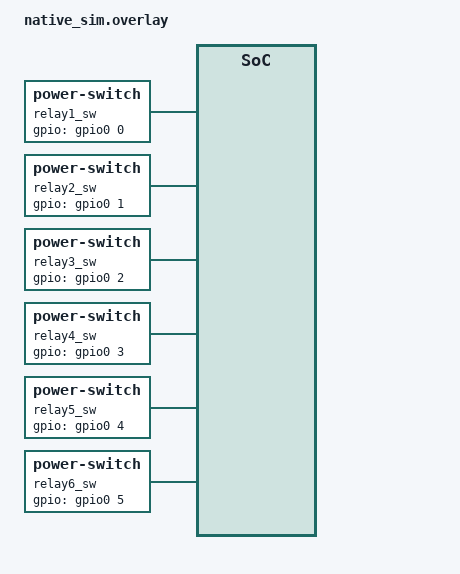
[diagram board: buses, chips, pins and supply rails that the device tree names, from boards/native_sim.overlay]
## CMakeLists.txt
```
cmake_minimum_required(VERSION 3.20.0)

list(APPEND BOARD_ROOT ${CMAKE_CURRENT_SOURCE_DIR})

macro(app_set_runner_args)
  board_runner_args(canopen "--node-id=${CONFIG_CANOPEN_NODE_ID}")
endmacro()

find_package(Zephyr REQUIRED HINTS $ENV{ZEPHYR_BASE})
project(gartennode_zysterne)
FILE(GLOB app_sources src/*.c)
target_sources(app PRIVATE ${app_sources} objdict/CO_OD.c)
zephyr_include_directories(objdict src)
```

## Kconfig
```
#
# Copyright (c) 2019 Vestas Wind Systems A/S
#
# SPDX-License-Identifier: Apache-2.0
#

config CANOPEN_NODE_ID
	int "CANopen node ID"
	default 10
	range 1 127
	help
	  7-bit CANopen Node ID

config RELAY_UPDATE_DIAGNOSTICS
	bool "Record CANopen update timing and reset causes"
	depends on CANOPENNODE_PROGRAM_DOWNLOAD && SOC_FAMILY_STM32
	select HWINFO
	select LOG_RUNTIME_FILTERING
	help
	  Record download progress and callback latency without changing the
	  flash operation. Suppress GPIO-expander log noise to preserve diagnostic
	  buffer space. Intended for hardware update regression tests.

# Match Gartennode's scratch layout, not Zephyr's newer offset-swap default.
# Defaults leave native_sim, which does not use MCUboot, unaffected.
choice MCUBOOT_BOOTLOADER_MODE
	default MCUBOOT_BOOTLOADER_MODE_SWAP_SCRATCH if BOARD_GARTENNODE && BOOTLOADER_MCUBOOT
endchoice

config MCUBOOT_IMGTOOL_SIGN_VERSION
	default "0.1.0" if BOARD_GARTENNODE && BOOTLOADER_MCUBOOT

config MCUBOOT_EXTRA_IMGTOOL_ARGS
	default "--pad" if BOARD_GARTENNODE && BOOTLOADER_MCUBOOT

source "Kconfig.zephyr"
```

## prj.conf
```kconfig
# Print a banner on the UART on startup.
CONFIG_BOOT_BANNER=y

CONFIG_LOG=y
CONFIG_LOG_BACKEND_UART=y
CONFIG_MULTITHREADING=y
#CONFIG_WATCHDOG=y
#CONFIG_TASK_WDT=y
#CONFIG_TASK_WDT_MIN_TIMEOUT=500
CONFIG_CANOPENNODE_LOG_LEVEL_DBG=y

CONFIG_GPIO=y
CONFIG_I2C=y
CONFIG_GPIO_PCF857X=y
CONFIG_SENSOR=y

CONFIG_CAN=y

CONFIG_MAIN_STACK_SIZE=2048

CONFIG_CANOPENNODE=y
CONFIG_CANOPENNODE_SYNC_THREAD=y
CONFIG_CANOPENNODE_STORAGE=y
CONFIG_CANOPENNODE_LEDS=y
CONFIG_CANOPENNODE_PROGRAM_DOWNLOAD=y
CONFIG_CANOPEN_NODE_ID=11

CONFIG_LOG_PRINTK=y
CONFIG_REBOOT=y
CONFIG_UART_CONSOLE=y
CONFIG_SERIAL=y
CONFIG_CONSOLE=y
# Enable Zephyr application to be booted by MCUboot
CONFIG_BOOTLOADER_MCUBOOT=y

# PROGRAM_CTRL_CLEAR erases the complete secondary slot before download.
# Do not erase sectors again while handling SDO data.
CONFIG_IMG_ERASE_PROGRESSIVELY=n
CONFIG_STREAM_FLASH_ERASE=n

# Use the default MCUBoot PEM key file (BOOT_SIGNATURE_KEY_FILE)
CONFIG_MCUBOOT_SIGNATURE_KEY_FILE="bootloader/mcuboot/gartennode.pem"
```

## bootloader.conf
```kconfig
# Gartennode has a 192 KiB external secondary slot and a separate scratch area.
CONFIG_BOOT_SWAP_USING_SCRATCH=y
CONFIG_BOOT_SIGNATURE_TYPE_ED25519=y
CONFIG_BOOT_SIGNATURE_KEY_FILE="gartennode.pem"
CONFIG_BOOT_VALIDATE_SLOT0=y
# The application does not implement watchdog servicing.
CONFIG_WATCHDOG=n
```

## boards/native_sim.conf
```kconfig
CONFIG_BOOTLOADER_MCUBOOT=n
CONFIG_MCUBOOT_SIGNATURE_KEY_FILE=""
CONFIG_CAN=y
CONFIG_CAN_NATIVE_UDP=y
CONFIG_CAN_NATIVE_UDP_RX_THREAD_PRIORITY=1
CONFIG_CANOPENNODE_SYNC_THREAD=n
CONFIG_CANOPENNODE_STORAGE=n
CONFIG_CANOPENNODE_PROGRAM_DOWNLOAD=n
CONFIG_CANOPEN_NODE_ID=11
CONFIG_FLASH=n
CONFIG_FLASH_PAGE_LAYOUT=n
CONFIG_FLASH_MAP=n
CONFIG_STREAM_FLASH=n
CONFIG_NVS=n
CONFIG_SETTINGS=n
CONFIG_WATCHDOG=n
CONFIG_TASK_WDT=n
CONFIG_GPIO=y
CONFIG_GPIO_EMUL=y
CONFIG_GPIO_PCF857X=n
CONFIG_I2C=n
CONFIG_SPI=n
CONFIG_SPI_NOR=n
```

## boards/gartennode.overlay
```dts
/*
 * Copyright (c) 2022 Google LLC.
 *
 * SPDX-License-Identifier: Apache-2.0
 */

#include <zephyr/dt-bindings/gpio/gpio.h>
#include <zephyr/dt-bindings/led/led.h>

/ {
	aliases {
		green-led = &green_led;
	};
};

&i2c1 {
	pcf8575: gpio-expander@27 {
		compatible = "nxp,pcf857x";
		reg = <0x27>;
		gpio-controller;
		#gpio-cells = <2>;
		ngpios = <16>;
		int-gpios = <&gpioa 0 0>;
		status = "okay";
	};
};
```

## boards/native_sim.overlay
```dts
/ {
	chosen {
		zephyr,canbus = &can_udp0;
	};

	can_udp0: udp-can {
		compatible = "zephyr,native-linux-udp-can";
		host = "127.0.0.1";
		port = <46100>;
		local-port = <46113>;
		status = "okay";
	};

	relay1_sw: relay1-switch {
		compatible = "power-switch";
		gpios = <&gpio0 0 GPIO_ACTIVE_HIGH>;
		status = "okay";
	};
	relay2_sw: relay2-switch {
		compatible = "power-switch";
		gpios = <&gpio0 1 GPIO_ACTIVE_HIGH>;
		status = "okay";
	};
	relay3_sw: relay3-switch {
		compatible = "power-switch";
		gpios = <&gpio0 2 GPIO_ACTIVE_HIGH>;
		status = "okay";
	};
	relay4_sw: relay4-switch {
		compatible = "power-switch";
		gpios = <&gpio0 3 GPIO_ACTIVE_HIGH>;
		status = "okay";
	};
	relay5_sw: relay5-switch {
		compatible = "power-switch";
		gpios = <&gpio0 4 GPIO_ACTIVE_HIGH>;
		status = "okay";
	};
	relay6_sw: relay6-switch {
		compatible = "power-switch";
		gpios = <&gpio0 5 GPIO_ACTIVE_HIGH>;
		status = "okay";
	};
};

&gpio0 {
	status = "okay";
};
```

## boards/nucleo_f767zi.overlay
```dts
/*
 * Copyright (c) 2022 Google LLC.
 *
 * SPDX-License-Identifier: Apache-2.0
 */

/ {
	aliases {
		green-led = &green_led;
		red-led = &red_led;
	};
    us0: HC-SR04 {
        compatible = "hc-sr04";
        trig-gpios = <&gpioe 13 GPIO_ACTIVE_HIGH>;
        echo-gpios = <&gpioe 11 (GPIO_PULL_DOWN | GPIO_ACTIVE_HIGH)>;
        status = "okay";
    };
};
```

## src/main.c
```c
/*
 * Copyright (c) 2019 Vestas Wind Systems A/S
 *
 * SPDX-License-Identifier: Apache-2.0
 */

#if defined(CONFIG_BOARD_NATIVE_SIM)
#define _POSIX_C_SOURCE 200809L
#endif

#include <zephyr/kernel.h>
#include <zephyr/drivers/gpio.h>
#include <zephyr/sys/reboot.h>
#include <zephyr/settings/settings.h>
#include <zephyr/drivers/sensor.h>
#include <canopennode.h>
#include "relay.h"
#include "update_control.h"
#include "update_diagnostics.h"
#if defined(CONFIG_BOARD_NATIVE_SIM)
#include <time.h>
#include <zephyr/drivers/can.h>
#include <zephyr/devicetree.h>
#include <zephyr/sys/util.h>
K_SEM_DEFINE(native_sim_can_rx_wakeup, 0, 1);

static int64_t native_sim_monotonic_ms(void)
{
	struct timespec now;

	clock_gettime(CLOCK_MONOTONIC, &now);
	return (int64_t)now.tv_sec * 1000 + now.tv_nsec / 1000000;
}

static void native_sim_can_bus_activity(const struct device *dev,
					struct can_frame *frame, void *user_data)
{
	ARG_UNUSED(dev);
	ARG_UNUSED(frame);
	ARG_UNUSED(user_data);
	k_sem_give(&native_sim_can_rx_wakeup);
}
#endif

#define LOG_LEVEL CONFIG_CANOPENNODE_LOG_LEVEL
#include <zephyr/logging/log.h>
LOG_MODULE_REGISTER(app);

#define CAN_INTERFACE DEVICE_DT_GET(DT_CHOSEN(zephyr_canbus))
#define CAN_BITRATE (DT_PROP_OR(DT_CHOSEN(zephyr_canbus), bitrate, \
					  DT_PROP_OR(DT_CHOSEN(zephyr_canbus), bus_speed, \
						     CONFIG_CAN_DEFAULT_BITRATE)) / 1000)

static struct gpio_dt_spec led_green_gpio = GPIO_DT_SPEC_GET_OR(
		DT_ALIAS(green_led), gpios, {0});
static struct gpio_dt_spec led_red_gpio = GPIO_DT_SPEC_GET_OR(
		DT_ALIAS(red_led), gpios, {0});

/**
 * @brief Callback for setting LED indicator state.
 *
 * @param value true if the LED indicator shall be turned on, false otherwise.
 * @param arg argument that was passed when LEDs were initialized.
 */
static void led_callback(bool value, void *arg)
{
	struct gpio_dt_spec *led_gpio = arg;

	if (!led_gpio || !led_gpio->port) {
		return;
	}

	gpio_pin_set_dt(led_gpio, value);
}

/**
 * @brief Configure LED indicators pins and callbacks.
 *
 * This routine configures the GPIOs for the red and green LEDs (if
 * available).
 *
 * @param nmt CANopenNode NMT object.
 */
static void config_leds(CO_NMT_t *nmt)
{
	int err;

	if (!led_green_gpio.port) {
		LOG_INF("Green LED not available");
	} else if (!gpio_is_ready_dt(&led_green_gpio)) {
		LOG_ERR("Green LED device not ready");
		led_green_gpio.port = NULL;
	} else {
		err = gpio_pin_configure_dt(&led_green_gpio,
					    GPIO_OUTPUT_INACTIVE);
		if (err) {
			LOG_ERR("failed to configure Green LED gpio: %d", err);
			led_green_gpio.port = NULL;
		}
	}

	if (!led_red_gpio.port) {
		LOG_INF("Red LED not available");
	} else if (!gpio_is_ready_dt(&led_red_gpio)) {
		LOG_ERR("Red LED device not ready");
		led_red_gpio.port = NULL;
	} else {
		err = gpio_pin_configure_dt(&led_red_gpio,
					    GPIO_OUTPUT_INACTIVE);
		if (err) {
			LOG_ERR("failed to configure Red LED gpio: %d", err);
			led_red_gpio.port = NULL;
		}
	}

	canopen_leds_init(nmt,
			  led_callback, &led_green_gpio,
			  led_callback, &led_red_gpio);
}

/**
 * @brief Main application entry point.
 *
 * The main application thread is responsible for initializing the
 * CANopen stack and doing the non real-time processing.
 */
int main(void)
{
	CO_NMT_reset_cmd_t reset = CO_RESET_NOT;
	CO_ReturnError_t err;
	struct canopen_context can;
	uint16_t timeout;
	uint32_t elapsed;
	int64_t timestamp;
#ifdef CONFIG_CANOPENNODE_STORAGE
	int ret;
#endif /* CONFIG_CANOPENNODE_STORAGE */

	can.dev = CAN_INTERFACE;
	if (!device_is_ready(can.dev)) {
		LOG_ERR("CAN interface not ready");
		return 0;
	}

#ifdef CONFIG_CANOPENNODE_STORAGE
	ret = settings_subsys_init();
	if (ret) {
		LOG_ERR("failed to initialize settings subsystem (err = %d)",
			ret);
		return 0;
	}

	ret = settings_load();
	if (ret) {
		LOG_ERR("failed to load settings (err = %d)", ret);
		return 0;
	}
#endif /* CONFIG_CANOPENNODE_STORAGE */

	OD_powerOnCounter++;

	while (reset != CO_RESET_APP) {
		elapsed =  0U; /* milliseconds */

#if defined(CONFIG_BOARD_NATIVE_SIM)
		/* Start node 11 in Operational and periodically report relay states. */
		OD_NMTStartup = 8U;
		OD_producerHeartbeatTime = 1000U;
		OD_TPDOCommunicationParameter[0].eventTimer = 250U;
#endif

		err = CO_init(&can, CONFIG_CANOPEN_NODE_ID, CAN_BITRATE);
		if (err != CO_ERROR_NO) {
			LOG_ERR("CO_init failed (err = %d)", err);
			return 0;
		}

		LOG_INF("CANopen stack initialized: %d", CONFIG_CANOPEN_NODE_ID);

#ifdef CONFIG_CANOPENNODE_STORAGE
		canopen_storage_attach(CO->SDO[0], CO->em);
#endif /* CONFIG_CANOPENNODE_STORAGE */

		config_leds(CO->NMT);
		relay_init();

		if (IS_ENABLED(CONFIG_CANOPENNODE_PROGRAM_DOWNLOAD)) {
			canopen_program_download_attach(CO->NMT, CO->SDO[0],
							CO->em);
			relay_update_control_attach(CO->SDO[0]);
#if defined(CONFIG_RELAY_UPDATE_DIAGNOSTICS)
			relay_update_diagnostics_attach(CO->SDO[0]);
#endif
		}

#if defined(CONFIG_BOARD_NATIVE_SIM)
		const struct can_filter native_sim_wakeup_filter = {
			.id = 0U,
			.mask = 0U,
		};
		int native_sim_wakeup_filter_id =
			can_add_rx_filter(can.dev, native_sim_can_bus_activity, NULL,
					  &native_sim_wakeup_filter);
		if (native_sim_wakeup_filter_id < 0) {
			LOG_ERR("Failed to add native-sim CAN activity filter: %d",
				native_sim_wakeup_filter_id);
		}
#endif

		CO_CANsetNormalMode(CO->CANmodule[0]);

		while (true) {
			timeout = 1U; /* default timeout in milliseconds */
#if defined(CONFIG_BOARD_NATIVE_SIM)
			timestamp = native_sim_monotonic_ms();
#else
			timestamp = k_uptime_get();
#endif
			reset = CO_process(CO, (uint16_t)elapsed, &timeout);

			if (reset != CO_RESET_NOT) {
				break;
			}
#if defined(CONFIG_BOARD_NATIVE_SIM)
			/*
			 * The native simulator has no deterministic SYNC worker. Process
			 * the asynchronous relay RPDO/TPDO in the application loop, just
			 * as the regular CANopen worker does on the hardware target.
			 */
			CO_LOCK_OD();
			CO_process_RPDO(CO, false);
			CO_process_TPDO(CO, false, elapsed * 1000U);
			CO_UNLOCK_OD();
#endif

#if defined(CONFIG_BOARD_NATIVE_SIM)
			/*
			 * CANopenNode timers use elapsed time, but native_sim's kernel
			 * uptime can remain static while waiting on UDP CAN. Use the
			 * monotonic host clock and wake promptly on incoming bus traffic.
			 */
			relay_process();
			(void)k_sem_take(&native_sim_can_rx_wakeup, K_MSEC(MAX(timeout, 10U)));
			elapsed = (uint32_t)(native_sim_monotonic_ms() - timestamp);
			if (elapsed == 0U) {
				elapsed = 1U;
			}
#else
			if (timeout > 0) {
				relay_process();

#ifdef CONFIG_CANOPENNODE_STORAGE
				ret = canopen_storage_save(
					CANOPEN_STORAGE_EEPROM);
				if (ret) {
					LOG_ERR("failed to save EEPROM");
				}
#endif /* CONFIG_CANOPENNODE_STORAGE */
				/*
				 * Try to sleep for as long as the
				 * stack requested and calculate the
				 * exact time elapsed.
				 */
				k_sleep(K_MSEC(timeout));
				elapsed = (uint32_t)k_uptime_delta(&timestamp);
			} else {
				/*
				 * Do not sleep, more processing to be
				 * done by the stack.
				 */
#if defined(CONFIG_BOARD_NATIVE_SIM)
				(void)k_sem_take(&native_sim_can_rx_wakeup, K_MSEC(10));
				elapsed = (uint32_t)(native_sim_monotonic_ms() - timestamp);
				if (elapsed == 0U) {
					elapsed = 1U;
				}
#else
				elapsed = 0U;
#endif
			}
#endif
		}

		if (reset == CO_RESET_COMM) {
			LOG_INF("Resetting communication");
		}
	}

	LOG_INF("Resetting device");

	CO_delete(&can);
	sys_reboot(SYS_REBOOT_COLD);
}
```

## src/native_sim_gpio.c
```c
#include "native_sim_gpio.h"
#include <string.h>
#include <zephyr/sys/util.h>

#if defined(CONFIG_BOARD_NATIVE_SIM)
#include <zephyr/kernel.h>
#include <arpa/inet.h>
#include <netinet/in.h>
#include <sys/socket.h>
#include <unistd.h>

void native_sim_gpio_publish(uint16_t companion_port, const uint8_t *values,
			     size_t count)
{
	static int socket_fd = -1;
	struct snapshot {
		uint16_t port;
		uint8_t values[64];
		size_t count;
		int64_t sent_at;
		bool initialized;
	};
	static struct snapshot snapshots[4];
	struct snapshot *snapshot = NULL;
	struct sockaddr_in destination = {
		.sin_family = AF_INET,
		.sin_port = 0,
		.sin_addr.s_addr = htonl(INADDR_LOOPBACK),
	};

	if (values == NULL || count == 0U || count > 64U) {
		return;
	}
	for (size_t i = 0; i < ARRAY_SIZE(snapshots); i++) {
		if (snapshots[i].port == companion_port || snapshots[i].port == 0U) {
			snapshot = &snapshots[i];
			if (snapshot->port == 0U) {
				snapshot->port = companion_port;
			}
			break;
		}
	}
	if (snapshot == NULL) {
		return;
	}
	int64_t now = k_uptime_get();
	bool changed = !snapshot->initialized || snapshot->count != count ||
		memcmp(snapshot->values, values, count) != 0;
	if (!changed && now - snapshot->sent_at < 1000) {
		return;
	}
	if (socket_fd < 0) {
		socket_fd = socket(AF_INET, SOCK_DGRAM, 0);
	}
	if (socket_fd < 0) {
		return;
	}
	destination.sin_port = htons(companion_port);
	if (sendto(socket_fd, values, count, 0, (struct sockaddr *)&destination,
		   sizeof(destination)) == (ssize_t)count) {
		memcpy(snapshot->values, values, count);
		snapshot->count = count;
		snapshot->sent_at = now;
		snapshot->initialized = true;
	}
}
#else
void native_sim_gpio_publish(uint16_t companion_port, const uint8_t *values,
			     size_t count)
{
	ARG_UNUSED(companion_port);
	ARG_UNUSED(values);
	ARG_UNUSED(count);
}
#endif
```

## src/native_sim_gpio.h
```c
#ifndef NATIVE_SIM_GPIO_H
#define NATIVE_SIM_GPIO_H

#include <stddef.h>
#include <stdint.h>

void native_sim_gpio_publish(uint16_t companion_port, const uint8_t *values,
			     size_t count);

#endif
```

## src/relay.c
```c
#include <zephyr/kernel.h>
#include <zephyr/drivers/gpio.h>
#if defined(CONFIG_BOARD_NATIVE_SIM)
#include <zephyr/drivers/gpio/gpio_emul.h>
#endif
#include <zephyr/devicetree.h>
#include <canopennode.h>
#include "native_sim_gpio.h"

#define LOG_LEVEL CONFIG_CANOPENNODE_LOG_LEVEL
#include <zephyr/logging/log.h>
LOG_MODULE_REGISTER(relay);

#define RELAY_COUNT 6U

static const int output_lookup_table[RELAY_COUNT] = {2, 1, 0, 5, 4, 3};
static uint8_t output[RELAY_COUNT];

#if defined(CONFIG_BOARD_NATIVE_SIM)
static const struct gpio_dt_spec relay_gpio[RELAY_COUNT] = {
	GPIO_DT_SPEC_GET(DT_NODELABEL(relay1_sw), gpios),
	GPIO_DT_SPEC_GET(DT_NODELABEL(relay2_sw), gpios),
	GPIO_DT_SPEC_GET(DT_NODELABEL(relay3_sw), gpios),
	GPIO_DT_SPEC_GET(DT_NODELABEL(relay4_sw), gpios),
	GPIO_DT_SPEC_GET(DT_NODELABEL(relay5_sw), gpios),
	GPIO_DT_SPEC_GET(DT_NODELABEL(relay6_sw), gpios),
};

static void publish_relay_gpio(void)
{
	uint8_t states[RELAY_COUNT];

	for (size_t i = 0; i < ARRAY_SIZE(relay_gpio); i++) {
		states[i] = (uint8_t)(gpio_emul_output_get_dt(&relay_gpio[i]) > 0);
	}
	native_sim_gpio_publish(46006U, states, ARRAY_SIZE(states));
}
#else
static const struct device *pcf857x;
#endif

void relay_init(void)
{
#if defined(CONFIG_BOARD_NATIVE_SIM)
	for (size_t i = 0; i < ARRAY_SIZE(relay_gpio); i++) {
		if (!gpio_is_ready_dt(&relay_gpio[i])) {
			LOG_ERR("Relay output %u is not ready", (unsigned int)i + 1U);
			continue;
		}

		int ret = gpio_pin_configure_dt(&relay_gpio[i], GPIO_OUTPUT_INACTIVE);
		if (ret != 0) {
			LOG_ERR("Failed to configure relay output %u: %d",
				(unsigned int)i + 1U, ret);
		}
	}
	publish_relay_gpio();
#else
	pcf857x = DEVICE_DT_GET(DT_NODELABEL(pcf8575));
	if (!device_is_ready(pcf857x)) {
		LOG_ERR("PCF8575 device is not ready");
		pcf857x = NULL;
		return;
	}

	for (size_t i = 0; i < RELAY_COUNT; i++) {
		int ret = gpio_pin_configure(pcf857x, output_lookup_table[i],
					     GPIO_OUTPUT);
		if (ret != 0) {
			LOG_ERR("Failed to configure relay output %u: %d",
				(unsigned int)i + 1U, ret);
		}
	}
#endif
}

void relay_process(void)
{
#if defined(CONFIG_BOARD_NATIVE_SIM)
	for (size_t i = 0; i < ARRAY_SIZE(relay_gpio); i++) {
		uint8_t requested = (uint8_t)OD_outputs[i];

		if (output[i] != requested &&
		    gpio_pin_set_dt(&relay_gpio[i], requested != 0U) == 0) {
			output[i] = requested;
		}
	}
#else
	if (pcf857x == NULL) {
		return;
	}

	for (size_t i = 0; i < RELAY_COUNT; i++) {
		uint8_t requested = (uint8_t)OD_outputs[i];

		if (output[i] != requested &&
		    gpio_pin_set(pcf857x, output_lookup_table[i],
				 requested != 0U) == 0) {
			output[i] = requested;
		}
	}
#endif
#if defined(CONFIG_BOARD_NATIVE_SIM)
	publish_relay_gpio();
#endif
}
```

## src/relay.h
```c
#ifndef RELAY_H
#define RELAY_H

void relay_init(void);
void relay_process(void);

#endif
```

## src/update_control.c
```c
#include "update_control.h"

#if defined(CONFIG_CANOPENNODE_PROGRAM_DOWNLOAD)
#include <string.h>
#include <zephyr/dfu/mcuboot.h>
#include <zephyr/logging/log.h>

LOG_MODULE_REGISTER(update_control, CONFIG_CANOPENNODE_LOG_LEVEL);

#define PROGRAM_CONTROL 0x1f51
#define CONFIRM_IMAGE 0x80

static CO_SDO_abortCode_t (*upstream_control)(CO_ODF_arg_t *);

static CO_SDO_abortCode_t software_version(CO_ODF_arg_t *arg)
{
	static const char version[] = CONFIG_MCUBOOT_IMGTOOL_SIGN_VERSION;

	_Static_assert(sizeof(version) > 1, "Firmware version must not be empty");
	_Static_assert(sizeof(version) - 1 <= CONFIG_CANOPENNODE_SDO_BUFFER_SIZE,
		       "Firmware version must fit the SDO buffer");
	if (!arg->reading) {
		return CO_SDO_AB_READONLY;
	}
	/* Exclude the C terminator: the gateway compares the VISIBLE_STRING. */
	memcpy(arg->data, version, sizeof(version) - 1);
	arg->dataLength = sizeof(version) - 1;
	arg->dataLengthTotal = sizeof(version) - 1;
	return CO_SDO_AB_NONE;
}

static CO_SDO_abortCode_t program_control(CO_ODF_arg_t *arg)
{
	if (arg->reading || arg->subIndex != 1U || arg->data[0] != CONFIRM_IMAGE) {
		return upstream_control(arg);
	}

	/*
	 * 0x80 is Zephyr's image-confirmation extension, not a program stop/start.
	 * The gateway may verify a test image after bringing it OPERATIONAL,
	 * then confirm it without another NMT transition.
	 * Keep STOP/CLEAR/START subject to upstream's PRE-OPERATIONAL requirement,
	 * but permit explicit confirmation in either active NMT state.
	 */
	memcpy(arg->data, arg->ODdataStorage, sizeof(uint8_t));
	if (!boot_is_img_confirmed()) {
		int err = boot_write_img_confirmed();

		if (err != 0) {
			LOG_ERR("Image confirmation failed: %d", err);
			return CO_SDO_AB_HW;
		}
		LOG_INF("Running image confirmed");
	}
	return CO_SDO_AB_NONE;
}

void relay_update_control_attach(CO_SDO_t *sdo)
{
	uint16_t entry = CO_OD_find(sdo, PROGRAM_CONTROL);

	if (entry == 0xffffU || sdo->ODExtensions[entry].pODFunc == NULL) {
		LOG_ERR("Program control callback absent");
		return;
	}
	upstream_control = sdo->ODExtensions[entry].pODFunc;
	CO_OD_configure(sdo, PROGRAM_CONTROL, program_control, NULL, 0, 0);
	CO_OD_configure(sdo, 0x100a, software_version, NULL, 0, 0);
}
#endif
```

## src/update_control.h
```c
#ifndef RELAY_UPDATE_CONTROL_H
#define RELAY_UPDATE_CONTROL_H

#include <canopennode.h>

void relay_update_control_attach(CO_SDO_t *sdo);

#endif
```

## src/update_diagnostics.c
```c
/* Optional, non-invasive instrumentation of the upstream download callbacks. */
#include "update_diagnostics.h"

#if defined(CONFIG_RELAY_UPDATE_DIAGNOSTICS)
#include <zephyr/drivers/hwinfo.h>
#include <zephyr/init.h>
#include <zephyr/logging/log.h>
#include <zephyr/logging/log_ctrl.h>

LOG_MODULE_REGISTER(update_diagnostics, LOG_LEVEL_INF);

/* Read only after the transfer: live debugger accesses can disturb timing. */
volatile struct {
	uint32_t reset_cause;
	uint32_t bytes;
	uint32_t calls;
	uint32_t maximum_data_us;
	uint32_t maximum_control_us;
	uint32_t abort_code;
	uint32_t last_command;
	uint32_t last_callback_ms;
} relay_update_diagnostics;

static CO_SDO_abortCode_t (*data_callback)(CO_ODF_arg_t *);
static CO_SDO_abortCode_t (*control_callback)(CO_ODF_arg_t *);

static int diagnostics_init(void)
{
	static const char *const noisy_sources[] = {
		"gpio_pcf857x",
	};
	uint32_t cause = 0;

	(void)hwinfo_get_reset_cause(&cause);
	relay_update_diagnostics.reset_cause = cause;
	LOG_INF("Image %s, reset cause 0x%08x, watchdog support %u",
		CONFIG_MCUBOOT_IMGTOOL_SIGN_VERSION, cause,
		IS_ENABLED(CONFIG_WATCHDOG));
	(void)hwinfo_clear_reset_cause();
	for (size_t i = 0; i < ARRAY_SIZE(noisy_sources); i++) {
		int id = log_source_id_get(noisy_sources[i]);

		if (id >= 0) {
			log_filter_set(NULL, 0, id, LOG_LEVEL_NONE);
		}
	}
	return 0;
}

SYS_INIT(diagnostics_init, APPLICATION, 0);

static CO_SDO_abortCode_t record_data(CO_ODF_arg_t *arg)
{
	if (arg->reading || arg->subIndex != 1U) {
		return data_callback(arg);
	}

	uint32_t length = arg->dataLength;
	uint32_t start = k_cycle_get_32();
	CO_SDO_abortCode_t result;

	if (arg->firstSegment) {
		relay_update_diagnostics.bytes = 0;
		relay_update_diagnostics.calls = 0;
		relay_update_diagnostics.maximum_data_us = 0;
		LOG_INF("Image download started: %u bytes", arg->dataLengthTotal);
	}
	result = data_callback(arg);
	uint32_t duration = k_cyc_to_us_floor32(k_cycle_get_32() - start);

	relay_update_diagnostics.bytes += length;
	relay_update_diagnostics.calls++;
	relay_update_diagnostics.maximum_data_us =
		MAX(relay_update_diagnostics.maximum_data_us, duration);
	relay_update_diagnostics.abort_code = result;
	relay_update_diagnostics.last_callback_ms = k_uptime_get_32();
	if (arg->lastSegment || result != CO_SDO_AB_NONE || duration > 100000U) {
		LOG_INF("Download bytes=%u max=%u us abort=%x final=%u",
			relay_update_diagnostics.bytes,
			relay_update_diagnostics.maximum_data_us,
			(unsigned int)result, arg->lastSegment);
	}
	return result;
}

static CO_SDO_abortCode_t record_control(CO_ODF_arg_t *arg)
{
	uint8_t command = arg->reading ? 0xff : arg->data[0];
	uint32_t start = k_cycle_get_32();
	CO_SDO_abortCode_t result = control_callback(arg);
	uint32_t duration = k_cyc_to_us_floor32(k_cycle_get_32() - start);

	if (!arg->reading) {
		relay_update_diagnostics.last_command = command;
		relay_update_diagnostics.maximum_control_us =
			MAX(relay_update_diagnostics.maximum_control_us, duration);
		LOG_INF("Control %u: %u us, abort=%x", command, duration,
			(unsigned int)result);
	}
	return result;
}

void relay_update_diagnostics_attach(CO_SDO_t *sdo)
{
	uint16_t data = CO_OD_find(sdo, 0x1f50);
	uint16_t control = CO_OD_find(sdo, 0x1f51);

	if (data == 0xffffU || control == 0xffffU) {
		LOG_ERR("Update objects absent");
		return;
	}
	data_callback = sdo->ODExtensions[data].pODFunc;
	control_callback = sdo->ODExtensions[control].pODFunc;
	if (data_callback == NULL || control_callback == NULL) {
		LOG_ERR("Update callbacks absent");
		return;
	}
	CO_OD_configure(sdo, 0x1f50, record_data, NULL, 0, 0);
	CO_OD_configure(sdo, 0x1f51, record_control, NULL, 0, 0);
}
#endif
```

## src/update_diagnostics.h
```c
#ifndef RELAY_UPDATE_DIAGNOSTICS_H
#define RELAY_UPDATE_DIAGNOSTICS_H

#include <canopennode.h>

#if defined(CONFIG_RELAY_UPDATE_DIAGNOSTICS)
void relay_update_diagnostics_attach(CO_SDO_t *sdo);
#endif

#endif
```
